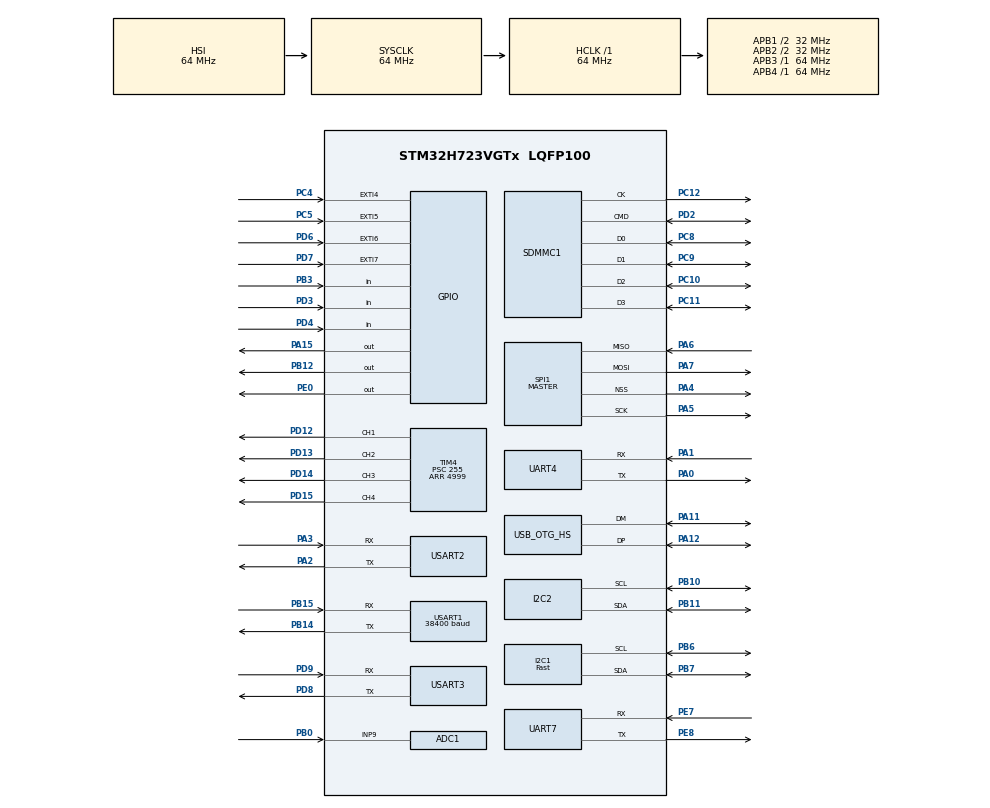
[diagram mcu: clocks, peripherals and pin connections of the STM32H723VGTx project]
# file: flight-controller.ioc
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ADC1.Channel-23\#ChannelRegularConversion=ADC_CHANNEL_9
ADC1.NbrOfConversionFlag=1
ADC1.OffsetNumber-23\#ChannelRegularConversion=ADC_OFFSET_NONE
ADC1.OffsetSignedSaturation-23\#ChannelRegularConversion=DISABLE
ADC1.Rank-23\#ChannelRegularConversion=1
ADC1.SamplingTime-23\#ChannelRegularConversion=ADC_SAMPLETIME_1CYCLE_5
ADC1.master=1
CORTEX_M7.default_mode_Activation=1
FATFS.BSP.number=1
FATFS._MAX_SS=4096
FATFS._USE_LFN=1
FATFS0.BSP.STBoard=false
FATFS0.BSP.api=Unknown
FATFS0.BSP.instance=PD3
FATFS0.BSP.ip=GPIO
FATFS0.BSP.mode=Input
FATFS0.BSP.name=Detect_SDIO
FATFS0.BSP.solution=PD3
I2C1.I2C_Speed_Mode=I2C_Fast
I2C1.Timing=0x00300F38
I2C2.Timing=0x00707CBB
Mcu.Family=STM32H7
Mcu.Name=STM32H723VGTx
Mcu.Package=LQFP100
NVIC.EXTI4_IRQn=true\:0\:0\:false\:false\:true\:true\:true\:true
NVIC.EXTI9_5_IRQn=true\:0\:0\:false\:false\:true\:true\:true\:true
NVIC.PriorityGroup=NVIC_PRIORITYGROUP_4
NVIC.UART4_IRQn=true\:0\:0\:false\:false\:true\:true\:true\:true
NVIC.USART1_IRQn=true\:0\:0\:false\:false\:true\:true\:true\:true
NVIC.USART2_IRQn=true\:0\:0\:false\:false\:true\:true\:true\:true
PA0.Mode=Asynchronous
PA0.Signal=UART4_TX
PA1.Mode=Asynchronous
PA1.Signal=UART4_RX
PA11.Mode=Device_Only_FS
PA11.Signal=USB_OTG_HS_DM
PA12.Mode=Device_Only_FS
PA12.Signal=USB_OTG_HS_DP
PA13(JTMS/SWDIO).Mode=Serial_Wire
PA13(JTMS/SWDIO).Signal=DEBUG_JTMS-SWDIO
PA14(JTCK/SWCLK).Mode=Serial_Wire
PA14(JTCK/SWCLK).Signal=DEBUG_JTCK-SWCLK
PA15(JTDI).Signal=GPIO_Output
PA2.Mode=Asynchronous
PA2.Signal=USART2_TX
PA3.Mode=Asynchronous
PA3.Signal=USART2_RX
PA4.Mode=NSS_Signal_Hard_Output
PA4.Signal=SPI1_NSS
PA5.Mode=Full_Duplex_Master
PA5.Signal=SPI1_SCK
PA6.Mode=Full_Duplex_Master
PA6.Signal=SPI1_MISO
PA7.Mode=Full_Duplex_Master
PA7.Signal=SPI1_MOSI
PB0.Signal=ADCx_INP9
PB10.Mode=I2C
PB10.Signal=I2C2_SCL
PB11.Mode=I2C
PB11.Signal=I2C2_SDA
PB12.Signal=GPIO_Output
PB13.Signal=EVENTOUT
PB14.Mode=Asynchronous
PB14.Signal=USART1_TX
PB15.Mode=Asynchronous
PB15.Signal=USART1_RX
PB3(JTDO/TRACESWO).Signal=GPIO_Input
PB6.Mode=I2C
PB6.Signal=I2C1_SCL
PB7.Mode=I2C
PB7.Signal=I2C1_SDA
PC10.Mode=SD_4_bits_Wide_bus
PC10.Signal=SDMMC1_D2
PC11.Mode=SD_4_bits_Wide_bus
PC11.Signal=SDMMC1_D3
PC12.Mode=SD_4_bits_Wide_bus
PC12.Signal=SDMMC1_CK
PC14-OSC32_IN.Mode=LSE-External-Oscillator
PC14-OSC32_IN.Signal=RCC_OSC32_IN
PC15-OSC32_OUT.Mode=LSE-External-Oscillator
PC15-OSC32_OUT.Signal=RCC_OSC32_OUT
PC4.Signal=GPXTI4
PC5.Signal=GPXTI5
PC8.Mode=SD_4_bits_Wide_bus
PC8.Signal=SDMMC1_D0
PC9.Mode=SD_4_bits_Wide_bus
PC9.Signal=SDMMC1_D1
PD12.Signal=S_TIM4_CH1
PD13.Signal=S_TIM4_CH2
PD14.Signal=S_TIM4_CH3
PD15.Signal=S_TIM4_CH4
PD2.Mode=SD_4_bits_Wide_bus
PD2.Signal=SDMMC1_CMD
PD3.Signal=GPIO_Input
PD4.Signal=GPIO_Input
PD6.Signal=GPXTI6
PD7.Signal=GPXTI7
PD8.Mode=Asynchronous
PD8.Signal=USART3_TX
PD9.Mode=Asynchronous
PD9.Signal=USART3_RX
PE0.Signal=GPIO_Output
PE7.Mode=Asynchronous
PE7.Signal=UART7_RX
PE8.Mode=Asynchronous
PE8.Signal=UART7_TX
PH0-OSC_IN.Mode=HSE-External-Oscillator
PH0-OSC_IN.Signal=RCC_OSC_IN
PH1-OSC_OUT.Mode=HSE-External-Oscillator
PH1-OSC_OUT.Signal=RCC_OSC_OUT
ProjectManager.HeapSize=0x200
ProjectManager.StackSize=0x400
ProjectManager.TargetToolchain=CMake
RCC.ADCFreq_Value=40000000
RCC.APB1Freq_Value=32000000
RCC.APB2Freq_Value=32000000
RCC.APB3Freq_Value=64000000
RCC.APB4Freq_Value=64000000
RCC.CortexFreq_Value=64000000
RCC.D2PPRE1=RCC_APB1_DIV2
RCC.D2PPRE2=RCC_APB2_DIV2
RCC.DIVM1=2
RCC.DIVM2=2
RCC.DIVN1=15
RCC.DIVN2=16
RCC.DIVP2=5
RCC.DIVQ1=4
RCC.HCLKFreq_Value=64000000
RCC.PLL2FRACN=0
RCC.PLL3FRACN=0
RCC.PLLFRACN=2950
RCC.SYSCLKFreq_VALUE=64000000
RCC.USBFreq_Value=48000335.693359375
SH.ADCx_INP9.0=ADC1_INP9,IN9-Single-Ended
SH.S_TIM4_CH1.0=TIM4_CH1,PWM Generation1 CH1
SH.S_TIM4_CH2.0=TIM4_CH2,PWM Generation2 CH2
SH.S_TIM4_CH3.0=TIM4_CH3,PWM Generation3 CH3
SH.S_TIM4_CH4.0=TIM4_CH4,PWM Generation4 CH4
SPI1.CalculateBaudRate=24.000168 MBits/s
SPI1.Direction=SPI_DIRECTION_2LINES
SPI1.Mode=SPI_MODE_MASTER
SPI1.VirtualNSS=VM_NSSHARD
SPI1.VirtualType=VM_MASTER
TIM4.Channel-PWM\ Generation1\ CH1=TIM_CHANNEL_1
TIM4.Channel-PWM\ Generation2\ CH2=TIM_CHANNEL_2
TIM4.Channel-PWM\ Generation3\ CH3=TIM_CHANNEL_3
TIM4.Channel-PWM\ Generation4\ CH4=TIM_CHANNEL_4
TIM4.Period=4999
TIM4.Prescaler=255
USART1.BaudRate=38400
USART1.VirtualMode-Asynchronous=VM_ASYNC
USART2.VirtualMode-Asynchronous=VM_ASYNC
USART3.VirtualMode-Asynchronous=VM_ASYNC
USB_OTG_HS.VirtualMode-Device_Only_FS=Device_Only_FS
VP_FATFS_VS_SDIO.Mode=SDIO
VP_MEMORYMAP_VS_MEMORYMAP.Mode=CurAppReg
VP_TIM4_VS_ClockSourceINT.Mode=Internal
VP_VREFBUF_V_VREFBUF.Mode=ExternalMode
board=custom

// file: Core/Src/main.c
/* USER CODE BEGIN Header */
/**
 ******************************************************************************
 * @file           : main.c
 * @brief          : Main program body
 ******************************************************************************
 * @attention
 *
 * Copyright (c) 2026 STMicroelectronics.
 * All rights reserved.
 *
 * This software is licensed under terms that can be found in the LICENSE file
 * in the root directory of this software component.
 * If no LICENSE file comes with this software, it is provided AS-IS.
 *
 ******************************************************************************
 */
/* USER CODE END Header */
#include "main.h"
#include "fatfs.h"

/* USER CODE BEGIN Includes */

#include "ff.h"
#include "pid.h"
#include "uart.h"
#include "sdmmc.h"
#include "sensor.h"
#include "stm32h723xx.h"
#include "stm32h7xx_hal.h"
#include "stm32h7xx_hal_def.h"
#include "stm32h7xx_hal_i2c.h"
#include "stm32h7xx_hal_spi.h"
#include "stm32h7xx_hal_tim.h"
#include "stm32h7xx_hal_uart.h"
#include <stdint.h>

/* USER CODE END Includes */

/* USER CODE BEGIN PD */

#define DT 10

/* USER CODE END PD */

ADC_HandleTypeDef hadc1;

I2C_HandleTypeDef hi2c1;
I2C_HandleTypeDef hi2c2;

SD_HandleTypeDef hsd1;

SPI_HandleTypeDef hspi1;

TIM_HandleTypeDef htim4;

UART_HandleTypeDef huart4;
UART_HandleTypeDef huart7;
UART_HandleTypeDef huart1;
UART_HandleTypeDef huart2;
UART_HandleTypeDef huart3;

PCD_HandleTypeDef hpcd_USB_OTG_HS;

/* USER CODE BEGIN PV */

FATFS fatfs;
char sd_path[4];

// IMU PV
stmdev_ctx_t imu_h;

// MAG PV
MMC5983_HW_InitTypeDef mag_h = {
	.I2C_handler = &hi2c1,
	.I2C_Timeout = HAL_TIMEOUT
};

// BMP PV
bmp384_handle_t bmp_h;

// GNSS PV
GNSS_StateHandle gnss_h;

// Sensor PV
vector_t gyro;
vector_t accel;
vector_t mag;
float imu_temp;
float mag_temp;
float pressure;
float temp;

// PID PV
pid_control_t pid_x = {
	1,
	0,
	0
};
pid_control_t pid_y = {
	1,
	0,
	0
};
pid_control_t pid_z = {
	0.1,
	0,
	0
};

// AHRS PV
ahrs_t ahrs;

// Input PV
float throttle;
float set_x;
float set_y;
float set_z;

// Transceiver PV
uint8_t control_buf[sizeof(controls)];
uint8_t control_data;
int control_count = 0;

/* USER CODE END PV */

void SystemClock_Config(void);
static void MPU_Config(void);
static void MX_GPIO_Init(void);
static void MX_I2C1_Init(void);
static void MX_SDMMC1_SD_Init(void);
static void MX_SPI1_Init(void);
static void MX_UART4_Init(void);
static void MX_USART2_UART_Init(void);
static void MX_USB_OTG_HS_PCD_Init(void);
static void MX_ADC1_Init(void);
static void MX_TIM4_Init(void);
static void MX_USART3_UART_Init(void);
static void MX_USART1_UART_Init(void);
static void MX_UART7_Init(void);
static void MX_I2C2_Init(void);
/* USER CODE BEGIN PFP */

// ESC functions
static void esc_set_all(uint32_t duty_cycle);
static void esc_calibrate();
static void esc_start_all();
static void esc_stop_all();

static float clamp(float value, float min, float max);

/* USER CODE END PFP */

int main(void)
{

	/* USER CODE BEGIN 1 */

	imu_h.write_reg = platform_write;
	imu_h.read_reg = platform_read;
	imu_h.mdelay = platform_delay;
	imu_h.handle = &hspi1;

	bmp_h.iic_init = bmp384_interface_iic_init;
	bmp_h.iic_deinit = bmp384_interface_iic_deinit;
	bmp_h.iic_read = bmp384_interface_iic_read;
	bmp_h.iic_write = bmp384_interface_iic_write;
	bmp_h.delay_ms = HAL_Delay;

	/* USER CODE END 1 */

	/* MPU Configuration--------------------------------------------------------*/
	MPU_Config();

	/* MCU Configuration--------------------------------------------------------*/

	/* Reset of all peripherals, Initializes the Flash interface and the Systick. */
	HAL_Init();

	/* Configure the system clock */
	SystemClock_Config();

	/* Initialize all configured peripherals */
	MX_GPIO_Init();
	MX_I2C1_Init();
	MX_SDMMC1_SD_Init();
	MX_SPI1_Init();
	MX_UART4_Init();
	MX_USART2_UART_Init();
	MX_USB_OTG_HS_PCD_Init();
	MX_ADC1_Init();
	MX_TIM4_Init();
	MX_USART3_UART_Init();
	MX_USART1_UART_Init();
	MX_UART7_Init();
	MX_I2C2_Init();
	MX_FATFS_Init();
	/* USER CODE BEGIN 2 */

	sd_init(&fatfs, sd_path);

	// IMU Init
	platform_delay(LSM6DSO_BOOT_TIME);

	uint8_t whoami, rst;
	if (lsm6dso_device_id_get(&imu_h, &whoami) != LSM6DSO_ID) {
		sd_log("ERROR", "LSM6DSO", "Device id invalid or missing");
		Error_Handler();
	}

	lsm6dso_reset_set(&imu_h, PROPERTY_ENABLE);

	do {
		lsm6dso_reset_get(&imu_h, &rst);
	} while (rst);

	imu_init(&imu_h);

	// MAG Init
	if (MMC5983_ID_Verify(&mag_h) != MMC_NO_ERROR) {
		sd_log("ERROR", "MMC5983", "Device id invalid or missing");
		Error_Handler();
	}

	mag_init(&mag_h);

	// BMP Init
	if (bmp_init(&bmp_h) != 0) {
		sd_log("ERROR", "BMP384", "Device id invalid or missing");
		Error_Handler();
	}

	// GNSS Init
	GNSS_Init(&gnss_h, &huart1);
	HAL_Delay(1000);
	GNSS_LoadConfig(&gnss_h);

	esc_start_all();

	/* USER CODE END 2 */

	/* Infinite loop */
	/* USER CODE BEGIN WHILE */
	uint32_t gnss_timer = HAL_GetTick();
	uint32_t telemetry_timer = HAL_GetTick();
	ahrs.start_timestamp = HAL_GetTick();
	while (1)
	{
		/* USER CODE END WHILE */

		/* USER CODE BEGIN 3 */
		uint32_t timestamp = HAL_GetTick();

		// Poll data every second since gnss module doesn't have an interrupt pin
		if ((HAL_GetTick() - gnss_timer) > 1000) {
			read_gnss(&gnss_h);
			gnss_timer = HAL_GetTick();
		}

		// Send telemetry every 100 milliconds
		if ((HAL_GetTick() - telemetry_timer) > 100) {
			transmit_telemetry();
			telemetry_timer = HAL_GetTick();
		}

		// Run loop only if new imu data is available
		lsm6dso_status_reg_t status;
		do {
			lsm6dso_status_reg_get(&imu_h, &status);
		} while (!status.gda || !status.xlda);

		read_imu(&imu_h, &gyro, &accel, &imu_temp, status);

		update_ahrs(&ahrs, gyro, accel, mag, DT);
		vector_t orientation_euler = quaternion_to_euler(ahrs.orientation);

		float pid_x_out = loop_pid(&pid_x, orientation_euler.x, set_x);
		float pid_y_out = loop_pid(&pid_y, orientation_euler.y, set_y);
		float pid_z_out = loop_pid(&pid_z, orientation_euler.z, set_z);

		// Write duty cycle to ESCs
		TIM4->CCR1 = clamp(throttle + pid_x_out + pid_y_out - pid_z_out, 0, 100);
		TIM4->CCR2 = clamp(throttle - pid_x_out + pid_y_out + pid_z_out, 0, 100);
		TIM4->CCR3 = clamp(throttle + pid_x_out - pid_y_out + pid_z_out, 0, 100);
		TIM4->CCR4 = clamp(throttle - pid_x_out - pid_y_out - pid_z_out, 0, 100);

		// Delay to keep DT constant
		uint32_t time_elapsed = HAL_GetTick() - timestamp;
		HAL_Delay(time_elapsed);
	}
	/* USER CODE END 3 */
}

void SystemClock_Config(void)
{
	RCC_OscInitTypeDef RCC_OscInitStruct = {0};
	RCC_ClkInitTypeDef RCC_ClkInitStruct = {0};

	/** Supply configuration update enable
	 */
	HAL_PWREx_ConfigSupply(PWR_LDO_SUPPLY);

	/** Configure the main internal regulator output voltage
	 */
	__HAL_PWR_VOLTAGESCALING_CONFIG(PWR_REGULATOR_VOLTAGE_SCALE3);

	while(!__HAL_PWR_GET_FLAG(PWR_FLAG_VOSRDY)) {}

	/** Initializes the RCC Oscillators according to the specified parameters
	 * in the RCC_OscInitTypeDef structure.
	 */
	RCC_OscInitStruct.OscillatorType = RCC_OSCILLATORTYPE_HSI|RCC_OSCILLATORTYPE_HSE;
	RCC_OscInitStruct.HSEState = RCC_HSE_ON;
	RCC_OscInitStruct.HSIState = RCC_HSI_DIV1;
	RCC_OscInitStruct.HSICalibrationValue = 64;
	RCC_OscInitStruct.PLL.PLLState = RCC_PLL_ON;
	RCC_OscInitStruct.PLL.PLLSource = RCC_PLLSOURCE_HSE;
	RCC_OscInitStruct.PLL.PLLM = 2;
	RCC_OscInitStruct.PLL.PLLN = 15;
	RCC_OscInitStruct.PLL.PLLP = 2;
	RCC_OscInitStruct.PLL.PLLQ = 4;
	RCC_OscInitStruct.PLL.PLLR = 2;
	RCC_OscInitStruct.PLL.PLLRGE = RCC_PLL1VCIRANGE_3;
	RCC_OscInitStruct.PLL.PLLVCOSEL = RCC_PLL1VCOWIDE;
	RCC_OscInitStruct.PLL.PLLFRACN = 2950;
	if (HAL_RCC_OscConfig(&RCC_OscInitStruct) != HAL_OK)
	{
		Error_Handler();
	}

	/** Initializes the CPU, AHB and APB buses clocks
	 */
	RCC_ClkInitStruct.ClockType = RCC_CLOCKTYPE_HCLK|RCC_CLOCKTYPE_SYSCLK
	                              |RCC_CLOCKTYPE_PCLK1|RCC_CLOCKTYPE_PCLK2
	                              |RCC_CLOCKTYPE_D3PCLK1|RCC_CLOCKTYPE_D1PCLK1;
	RCC_ClkInitStruct.SYSCLKSource = RCC_SYSCLKSOURCE_HSI;
	RCC_ClkInitStruct.SYSCLKDivider = RCC_SYSCLK_DIV1;
	RCC_ClkInitStruct.AHBCLKDivider = RCC_HCLK_DIV1;
	RCC_ClkInitStruct.APB3CLKDivider = RCC_APB3_DIV1;
	RCC_ClkInitStruct.APB1CLKDivider = RCC_APB1_DIV2;
	RCC_ClkInitStruct.APB2CLKDivider = RCC_APB2_DIV2;
	RCC_ClkInitStruct.APB4CLKDivider = RCC_APB4_DIV1;

	if (HAL_RCC_ClockConfig(&RCC_ClkInitStruct, FLASH_LATENCY_1) != HAL_OK)
	{
		Error_Handler();
	}
}

static void MX_ADC1_Init(void)
{

	ADC_MultiModeTypeDef multimode = {0};
	ADC_ChannelConfTypeDef sConfig = {0};

	/** Common config
	 */
	hadc1.Instance = ADC1;
	hadc1.Init.ClockPrescaler = ADC_CLOCK_ASYNC_DIV1;
	hadc1.Init.Resolution = ADC_RESOLUTION_16B;
	hadc1.Init.ScanConvMode = ADC_SCAN_DISABLE;
	hadc1.Init.EOCSelection = ADC_EOC_SINGLE_CONV;
	hadc1.Init.LowPowerAutoWait = DISABLE;
	hadc1.Init.ContinuousConvMode = DISABLE;
	hadc1.Init.NbrOfConversion = 1;
	hadc1.Init.DiscontinuousConvMode = DISABLE;
	hadc1.Init.ExternalTrigConv = ADC_SOFTWARE_START;
	hadc1.Init.ExternalTrigConvEdge = ADC_EXTERNALTRIGCONVEDGE_NONE;
	hadc1.Init.ConversionDataManagement = ADC_CONVERSIONDATA_DR;
	hadc1.Init.Overrun = ADC_OVR_DATA_PRESERVED;
	hadc1.Init.LeftBitShift = ADC_LEFTBITSHIFT_NONE;
	hadc1.Init.OversamplingMode = DISABLE;
	hadc1.Init.Oversampling.Ratio = 1;
	if (HAL_ADC_Init(&hadc1) != HAL_OK)
	{
		Error_Handler();
	}

	/** Configure the ADC multi-mode
	 */
	multimode.Mode = ADC_MODE_INDEPENDENT;
	if (HAL_ADCEx_MultiModeConfigChannel(&hadc1, &multimode) != HAL_OK)
	{
		Error_Handler();
	}

	/** Configure Regular Channel
	 */
	sConfig.Channel = ADC_CHANNEL_9;
	sConfig.Rank = ADC_REGULAR_RANK_1;
	sConfig.SamplingTime = ADC_SAMPLETIME_1CYCLE_5;
	sConfig.SingleDiff = ADC_SINGLE_ENDED;
	sConfig.OffsetNumber = ADC_OFFSET_NONE;
	sConfig.Offset = 0;
	sConfig.OffsetSignedSaturation = DISABLE;
	if (HAL_ADC_ConfigChannel(&hadc1, &sConfig) != HAL_OK)
	{
		Error_Handler();
	}

}

static void MX_I2C1_Init(void)
{

	hi2c1.Instance = I2C1;
	hi2c1.Init.Timing = 0x00300F38;
	hi2c1.Init.OwnAddress1 = 0;
	hi2c1.Init.AddressingMode = I2C_ADDRESSINGMODE_7BIT;
	hi2c1.Init.DualAddressMode = I2C_DUALADDRESS_DISABLE;
	hi2c1.Init.OwnAddress2 = 0;
	hi2c1.Init.OwnAddress2Masks = I2C_OA2_NOMASK;
	hi2c1.Init.GeneralCallMode = I2C_GENERALCALL_DISABLE;
	hi2c1.Init.NoStretchMode = I2C_NOSTRETCH_DISABLE;
	if (HAL_I2C_Init(&hi2c1) != HAL_OK)
	{
		Error_Handler();
	}

	/** Configure Analogue filter
	 */
	if (HAL_I2CEx_ConfigAnalogFilter(&hi2c1, I2C_ANALOGFILTER_ENABLE) != HAL_OK)
	{
		Error_Handler();
	}

	/** Configure Digital filter
	 */
	if (HAL_I2CEx_ConfigDigitalFilter(&hi2c1, 0) != HAL_OK)
	{
		Error_Handler();
	}

}

static void MX_I2C2_Init(void)
{

	hi2c2.Instance = I2C2;
	hi2c2.Init.Timing = 0x00707CBB;
	hi2c2.Init.OwnAddress1 = 0;
	hi2c2.Init.AddressingMode = I2C_ADDRESSINGMODE_7BIT;
	hi2c2.Init.DualAddressMode = I2C_DUALADDRESS_DISABLE;
	hi2c2.Init.OwnAddress2 = 0;
	hi2c2.Init.OwnAddress2Masks = I2C_OA2_NOMASK;
	hi2c2.Init.GeneralCallMode = I2C_GENERALCALL_DISABLE;
	hi2c2.Init.NoStretchMode = I2C_NOSTRETCH_DISABLE;
	if (HAL_I2C_Init(&hi2c2) != HAL_OK)
	{
		Error_Handler();
	}

	/** Configure Analogue filter
	 */
	if (HAL_I2CEx_ConfigAnalogFilter(&hi2c2, I2C_ANALOGFILTER_ENABLE) != HAL_OK)
	{
		Error_Handler();
	}

	/** Configure Digital filter
	 */
	if (HAL_I2CEx_ConfigDigitalFilter(&hi2c2, 0) != HAL_OK)
	{
		Error_Handler();
	}

}

static void MX_SDMMC1_SD_Init(void)
{

	hsd1.Instance = SDMMC1;
	hsd1.Init.ClockEdge = SDMMC_CLOCK_EDGE_RISING;
	hsd1.Init.ClockPowerSave = SDMMC_CLOCK_POWER_SAVE_DISABLE;
	hsd1.Init.BusWide = SDMMC_BUS_WIDE_4B;
	hsd1.Init.HardwareFlowControl = SDMMC_HARDWARE_FLOW_CONTROL_DISABLE;
	hsd1.Init.ClockDiv = 0;
	if (HAL_SD_Init(&hsd1) != HAL_OK)
	{
		Error_Handler();
	}

}

static void MX_SPI1_Init(void)
{

	/* SPI1 parameter configuration*/
	hspi1.Instance = SPI1;
	hspi1.Init.Mode = SPI_MODE_MASTER;
	hspi1.Init.Direction = SPI_DIRECTION_2LINES;
	hspi1.Init.DataSize = SPI_DATASIZE_4BIT;
	hspi1.Init.CLKPolarity = SPI_POLARITY_LOW;
	hspi1.Init.CLKPhase = SPI_PHASE_1EDGE;
	hspi1.Init.NSS = SPI_NSS_HARD_OUTPUT;
	hspi1.Init.BaudRatePrescaler = SPI_BAUDRATEPRESCALER_2;
	hspi1.Init.FirstBit = SPI_FIRSTBIT_MSB;
	hspi1.Init.TIMode = SPI_TIMODE_DISABLE;
	hspi1.Init.CRCCalculation = SPI_CRCCALCULATION_DISABLE;
	hspi1.Init.CRCPolynomial = 0x0;
	hspi1.Init.NSSPMode = SPI_NSS_PULSE_ENABLE;
	hspi1.Init.NSSPolarity = SPI_NSS_POLARITY_LOW;
	hspi1.Init.FifoThreshold = SPI_FIFO_THRESHOLD_01DATA;
	hspi1.Init.TxCRCInitializationPattern = SPI_CRC_INITIALIZATION_ALL_ZERO_PATTERN;
	hspi1.Init.RxCRCInitializationPattern = SPI_CRC_INITIALIZATION_ALL_ZERO_PATTERN;
	hspi1.Init.MasterSSIdleness = SPI_MASTER_SS_IDLENESS_00CYCLE;
	hspi1.Init.MasterInterDataIdleness = SPI_MASTER_INTERDATA_IDLENESS_00CYCLE;
	hspi1.Init.MasterReceiverAutoSusp = SPI_MASTER_RX_AUTOSUSP_DISABLE;
	hspi1.Init.MasterKeepIOState = SPI_MASTER_KEEP_IO_STATE_DISABLE;
	hspi1.Init.IOSwap = SPI_IO_SWAP_DISABLE;
	if (HAL_SPI_Init(&hspi1) != HAL_OK)
	{
		Error_Handler();
	}

}

static void MX_TIM4_Init(void)
{

	TIM_ClockConfigTypeDef sClockSourceConfig = {0};
	TIM_MasterConfigTypeDef sMasterConfig = {0};
	TIM_OC_InitTypeDef sConfigOC = {0};

	htim4.Instance = TIM4;
	htim4.Init.Prescaler = 255;
	htim4.Init.CounterMode = TIM_COUNTERMODE_UP;
	htim4.Init.Period = 4999;
	htim4.Init.ClockDivision = TIM_CLOCKDIVISION_DIV1;
	htim4.Init.AutoReloadPreload = TIM_AUTORELOAD_PRELOAD_DISABLE;
	if (HAL_TIM_Base_Init(&htim4) != HAL_OK)
	{
		Error_Handler();
	}
	sClockSourceConfig.ClockSource = TIM_CLOCKSOURCE_INTERNAL;
	if (HAL_TIM_ConfigClockSource(&htim4, &sClockSourceConfig) != HAL_OK)
	{
		Error_Handler();
	}
	if (HAL_TIM_PWM_Init(&htim4) != HAL_OK)
	{
		Error_Handler();
	}
	sMasterConfig.MasterOutputTrigger = TIM_TRGO_RESET;
	sMasterConfig.MasterSlaveMode = TIM_MASTERSLAVEMODE_DISABLE;
	if (HAL_TIMEx_MasterConfigSynchronization(&htim4, &sMasterConfig) != HAL_OK)
	{
		Error_Handler();
	}
	sConfigOC.OCMode = TIM_OCMODE_PWM1;
	sConfigOC.Pulse = 0;
	sConfigOC.OCPolarity = TIM_OCPOLARITY_HIGH;
	sConfigOC.OCFastMode = TIM_OCFAST_DISABLE;
	if (HAL_TIM_PWM_ConfigChannel(&htim4, &sConfigOC, TIM_CHANNEL_1) != HAL_OK)
	{
		Error_Handler();
	}
	if (HAL_TIM_PWM_ConfigChannel(&htim4, &sConfigOC, TIM_CHANNEL_2) != HAL_OK)
	{
		Error_Handler();
	}
	if (HAL_TIM_PWM_ConfigChannel(&htim4, &sConfigOC, TIM_CHANNEL_3) != HAL_OK)
	{
		Error_Handler();
	}
	if (HAL_TIM_PWM_ConfigChannel(&htim4, &sConfigOC, TIM_CHANNEL_4) != HAL_OK)
	{
		Error_Handler();
	}
	HAL_TIM_MspPostInit(&htim4);

}

static void MX_UART4_Init(void)
{

	huart4.Instance = UART4;
	huart4.Init.BaudRate = 115200;
	huart4.Init.WordLength = UART_WORDLENGTH_8B;
	huart4.Init.StopBits = UART_STOPBITS_1;
	huart4.Init.Parity = UART_PARITY_NONE;
	huart4.Init.Mode = UART_MODE_TX_RX;
	huart4.Init.HwFlowCtl = UART_HWCONTROL_NONE;
	huart4.Init.OverSampling = UART_OVERSAMPLING_16;
	huart4.Init.OneBitSampling = UART_ONE_BIT_SAMPLE_DISABLE;
	huart4.Init.ClockPrescaler = UART_PRESCALER_DIV1;
	huart4.AdvancedInit.AdvFeatureInit = UART_ADVFEATURE_NO_INIT;
	if (HAL_UART_Init(&huart4) != HAL_OK)
	{
		Error_Handler();
	}
	if (HAL_UARTEx_SetTxFifoThreshold(&huart4, UART_TXFIFO_THRESHOLD_1_8) != HAL_OK)
	{
		Error_Handler();
	}
	if (HAL_UARTEx_SetRxFifoThreshold(&huart4, UART_RXFIFO_THRESHOLD_1_8) != HAL_OK)
	{
		Error_Handler();
	}
	if (HAL_UARTEx_DisableFifoMode(&huart4) != HAL_OK)
	{
		Error_Handler();
	}

}

static void MX_UART7_Init(void)
{

	huart7.Instance = UART7;
	huart7.Init.BaudRate = 115200;
	huart7.Init.WordLength = UART_WORDLENGTH_8B;
	huart7.Init.StopBits = UART_STOPBITS_1;
	huart7.Init.Parity = UART_PARITY_NONE;
	huart7.Init.Mode = UART_MODE_TX_RX;
	huart7.Init.HwFlowCtl = UART_HWCONTROL_NONE;
	huart7.Init.OverSampling = UART_OVERSAMPLING_16;
	huart7.Init.OneBitSampling = UART_ONE_BIT_SAMPLE_DISABLE;
	huart7.Init.ClockPrescaler = UART_PRESCALER_DIV1;
	huart7.AdvancedInit.AdvFeatureInit = UART_ADVFEATURE_NO_INIT;
	if (HAL_UART_Init(&huart7) != HAL_OK)
	{
		Error_Handler();
	}
	if (HAL_UARTEx_SetTxFifoThreshold(&huart7, UART_TXFIFO_THRESHOLD_1_8) != HAL_OK)
	{
		Error_Handler();
	}
	if (HAL_UARTEx_SetRxFifoThreshold(&huart7, UART_RXFIFO_THRESHOLD_1_8) != HAL_OK)
	{
		Error_Handler();
	}
	if (HAL_UARTEx_DisableFifoMode(&huart7) != HAL_OK)
	{
		Error_Handler();
	}

}

static void MX_USART1_UART_Init(void)
{

	huart1.Instance = USART1;
	huart1.Init.BaudRate = 38400;
	huart1.Init.WordLength = UART_WORDLENGTH_8B;
	huart1.Init.StopBits = UART_STOPBITS_1;
	huart1.Init.Parity = UART_PARITY_NONE;
	huart1.Init.Mode = UART_MODE_TX_RX;
	huart1.Init.HwFlowCtl = UART_HWCONTROL_NONE;
	huart1.Init.OverSampling = UART_OVERSAMPLING_16;
	huart1.Init.OneBitSampling = UART_ONE_BIT_SAMPLE_DISABLE;
	huart1.Init.ClockPrescaler = UART_PRESCALER_DIV1;
	huart1.AdvancedInit.AdvFeatureInit = UART_ADVFEATURE_NO_INIT;
	if (HAL_UART_Init(&huart1) != HAL_OK)
	{
		Error_Handler();
	}
	if (HAL_UARTEx_SetTxFifoThreshold(&huart1, UART_TXFIFO_THRESHOLD_1_8) != HAL_OK)
	{
		Error_Handler();
	}
	if (HAL_UARTEx_SetRxFifoThreshold(&huart1, UART_RXFIFO_THRESHOLD_1_8) != HAL_OK)
	{
		Error_Handler();
	}
	if (HAL_UARTEx_DisableFifoMode(&huart1) != HAL_OK)
	{
		Error_Handler();
	}

}

static void MX_USART2_UART_Init(void)
{

	huart2.Instance = USART2;
	huart2.Init.BaudRate = 115200;
	huart2.Init.WordLength = UART_WORDLENGTH_8B;
	huart2.Init.StopBits = UART_STOPBITS_1;
	huart2.Init.Parity = UART_PARITY_NONE;
	huart2.Init.Mode = UART_MODE_TX_RX;
	huart2.Init.HwFlowCtl = UART_HWCONTROL_NONE;
	huart2.Init.OverSampling = UART_OVERSAMPLING_16;
	huart2.Init.OneBitSampling = UART_ONE_BIT_SAMPLE_DISABLE;
	huart2.Init.ClockPrescaler = UART_PRESCALER_DIV1;
	huart2.AdvancedInit.AdvFeatureInit = UART_ADVFEATURE_NO_INIT;
	if (HAL_UART_Init(&huart2) != HAL_OK)
	{
		Error_Handler();
	}
	if (HAL_UARTEx_SetTxFifoThreshold(&huart2, UART_TXFIFO_THRESHOLD_1_8) != HAL_OK)
	{
		Error_Handler();
	}
	if (HAL_UARTEx_SetRxFifoThreshold(&huart2, UART_RXFIFO_THRESHOLD_1_8) != HAL_OK)
	{
		Error_Handler();
	}
	if (HAL_UARTEx_DisableFifoMode(&huart2) != HAL_OK)
	{
		Error_Handler();
	}

}

static void MX_USART3_UART_Init(void)
{

	huart3.Instance = USART3;
	huart3.Init.BaudRate = 115200;
	huart3.Init.WordLength = UART_WORDLENGTH_8B;
	huart3.Init.StopBits = UART_STOPBITS_1;
	huart3.Init.Parity = UART_PARITY_NONE;
	huart3.Init.Mode = UART_MODE_TX_RX;
	huart3.Init.HwFlowCtl = UART_HWCONTROL_NONE;
	huart3.Init.OverSampling = UART_OVERSAMPLING_16;
	huart3.Init.OneBitSampling = UART_ONE_BIT_SAMPLE_DISABLE;
	huart3.Init.ClockPrescaler = UART_PRESCALER_DIV1;
	huart3.AdvancedInit.AdvFeatureInit = UART_ADVFEATURE_NO_INIT;
	if (HAL_UART_Init(&huart3) != HAL_OK)
	{
		Error_Handler();
	}
	if (HAL_UARTEx_SetTxFifoThreshold(&huart3, UART_TXFIFO_THRESHOLD_1_8) != HAL_OK)
	{
		Error_Handler();
	}
	if (HAL_UARTEx_SetRxFifoThreshold(&huart3, UART_RXFIFO_THRESHOLD_1_8) != HAL_OK)
	{
		Error_Handler();
	}
	if (HAL_UARTEx_DisableFifoMode(&huart3) != HAL_OK)
	{
		Error_Handler();
	}

}

static void MX_USB_OTG_HS_PCD_Init(void)
{

	hpcd_USB_OTG_HS.Instance = USB_OTG_HS;
	hpcd_USB_OTG_HS.Init.dev_endpoints = 9;
	hpcd_USB_OTG_HS.Init.speed = PCD_SPEED_FULL;
	hpcd_USB_OTG_HS.Init.dma_enable = DISABLE;
	hpcd_USB_OTG_HS.Init.phy_itface = USB_OTG_EMBEDDED_PHY;
	hpcd_USB_OTG_HS.Init.Sof_enable = DISABLE;
	hpcd_USB_OTG_HS.Init.low_power_enable = DISABLE;
	hpcd_USB_OTG_HS.Init.lpm_enable = DISABLE;
	hpcd_USB_OTG_HS.Init.vbus_sensing_enable = DISABLE;
	hpcd_USB_OTG_HS.Init.use_dedicated_ep1 = DISABLE;
	hpcd_USB_OTG_HS.Init.use_external_vbus = DISABLE;
	if (HAL_PCD_Init(&hpcd_USB_OTG_HS) != HAL_OK)
	{
		Error_Handler();
	}

}

static void MX_GPIO_Init(void)
{
	GPIO_InitTypeDef GPIO_InitStruct = {0};

	/* GPIO Ports Clock Enable */
	__HAL_RCC_GPIOC_CLK_ENABLE();
	__HAL_RCC_GPIOH_CLK_ENABLE();
	__HAL_RCC_GPIOA_CLK_ENABLE();
	__HAL_RCC_GPIOB_CLK_ENABLE();
	__HAL_RCC_GPIOE_CLK_ENABLE();
	__HAL_RCC_GPIOD_CLK_ENABLE();

	/*Configure GPIO pin Output Level */
	HAL_GPIO_WritePin(GPIOB, GPIO_PIN_12, GPIO_PIN_RESET);

	/*Configure GPIO pin Output Level */
	HAL_GPIO_WritePin(GPIOA, GPIO_PIN_15, GPIO_PIN_RESET);

	/*Configure GPIO pin Output Level */
	HAL_GPIO_WritePin(GPIOE, GPIO_PIN_0, GPIO_PIN_RESET);

	/*Configure GPIO pins : PC4 PC5 */
	GPIO_InitStruct.Pin = GPIO_PIN_4|GPIO_PIN_5;
	GPIO_InitStruct.Mode = GPIO_MODE_IT_RISING;
	GPIO_InitStruct.Pull = GPIO_NOPULL;
	HAL_GPIO_Init(GPIOC, &GPIO_InitStruct);

	/*Configure GPIO pin : PB12 */
	GPIO_InitStruct.Pin = GPIO_PIN_12;
	GPIO_InitStruct.Mode = GPIO_MODE_OUTPUT_PP;
	GPIO_InitStruct.Pull = GPIO_NOPULL;
	GPIO_InitStruct.Speed = GPIO_SPEED_FREQ_LOW;
	HAL_GPIO_Init(GPIOB, &GPIO_InitStruct);

	/*Configure GPIO pin : PB13 */
	GPIO_InitStruct.Pin = GPIO_PIN_13;
	GPIO_InitStruct.Mode = GPIO_MODE_AF_PP;
	GPIO_InitStruct.Pull = GPIO_NOPULL;
	GPIO_InitStruct.Speed = GPIO_SPEED_FREQ_LOW;
	GPIO_InitStruct.Alternate = GPIO_AF15_EVENTOUT;
	HAL_GPIO_Init(GPIOB, &GPIO_InitStruct);

	/*Configure GPIO pin : PA15 */
	GPIO_InitStruct.Pin = GPIO_PIN_15;
	GPIO_InitStruct.Mode = GPIO_MODE_OUTPUT_PP;
	GPIO_InitStruct.Pull = GPIO_NOPULL;
	GPIO_InitStruct.Speed = GPIO_SPEED_FREQ_LOW;
	HAL_GPIO_Init(GPIOA, &GPIO_InitStruct);

	/*Configure GPIO pins : PD3 PD4 */
	GPIO_InitStruct.Pin = GPIO_PIN_3|GPIO_PIN_4;
	GPIO_InitStruct.Mode = GPIO_MODE_INPUT;
	GPIO_InitStruct.Pull = GPIO_NOPULL;
	HAL_GPIO_Init(GPIOD, &GPIO_InitStruct);

	/*Configure GPIO pins : PD6 PD7 */
	GPIO_InitStruct.Pin = GPIO_PIN_6|GPIO_PIN_7;
	GPIO_InitStruct.Mode = GPIO_MODE_IT_RISING;
	GPIO_InitStruct.Pull = GPIO_NOPULL;
	HAL_GPIO_Init(GPIOD, &GPIO_InitStruct);

	/*Configure GPIO pin : PB3 */
	GPIO_InitStruct.Pin = GPIO_PIN_3;
	GPIO_InitStruct.Mode = GPIO_MODE_INPUT;
	GPIO_InitStruct.Pull = GPIO_NOPULL;
	HAL_GPIO_Init(GPIOB, &GPIO_InitStruct);

	/*Configure GPIO pin : PE0 */
	GPIO_InitStruct.Pin = GPIO_PIN_0;
	GPIO_InitStruct.Mode = GPIO_MODE_OUTPUT_PP;
	GPIO_InitStruct.Pull = GPIO_NOPULL;
	GPIO_InitStruct.Speed = GPIO_SPEED_FREQ_LOW;
	HAL_GPIO_Init(GPIOE, &GPIO_InitStruct);

	/* EXTI interrupt init*/
	HAL_NVIC_SetPriority(EXTI4_IRQn, 0, 0);
	HAL_NVIC_EnableIRQ(EXTI4_IRQn);

	HAL_NVIC_SetPriority(EXTI9_5_IRQn, 0, 0);
	HAL_NVIC_EnableIRQ(EXTI9_5_IRQn);

}

/* USER CODE BEGIN 4 */

void HAL_UART_RxCpltCallback(UART_HandleTypeDef *huart) {
	if (huart == &transceiver_h) {
		if (control_data == '\n') {
			controls = *(controls_t *)&control_buf;
			control_count = 0;
		} else {
			control_buf[control_count++] = control_data;
		}
		HAL_UART_Receive_IT(&transceiver_h, &control_data, 1);
	}
}

void HAL_GPIO_EXTI_Callback(uint16_t GPIO_Pin) {
	if(GPIO_Pin == MMC5983_INT_PIN){
		read_mag(&mag_h, &mag);
	}

	if (GPIO_Pin == BMP384_INT_PIN) {
		read_bmp(&bmp_h, &pressure, &temp);
	}
}

static void esc_start_all() {
	HAL_TIM_PWM_Start(&htim4, 1);
	HAL_TIM_PWM_Start(&htim4, 2);
	HAL_TIM_PWM_Start(&htim4, 3);
	HAL_TIM_PWM_Start(&htim4, 4);
}

static void esc_stop_all() {
	HAL_TIM_PWM_Stop(&htim4, 1);
	HAL_TIM_PWM_Stop(&htim4, 2);
	HAL_TIM_PWM_Stop(&htim4, 3);
	HAL_TIM_PWM_Stop(&htim4, 4);
}

static void esc_set_all(uint32_t duty_cycle) {
	TIM4->CCR1 = duty_cycle;
	TIM4->CCR2 = duty_cycle;
	TIM4->CCR3 = duty_cycle;
	TIM4->CCR4 = duty_cycle;
}

static void esc_calibrate() {
	esc_set_all(100);
	HAL_Delay(2);

	esc_set_all(50);
	HAL_Delay(1);

	esc_set_all(0);
}

static float clamp(float value, float min, float max) {
	if (value < min) {
		return min;
	}

	if (value > max) {
		return max;
	}

	return value;
}

I2C_HandleTypeDef get_hi2c_bmp() {
	return hi2c1;
}

float get_timestamp() {
	return HAL_GetTick();
}

/* USER CODE END 4 */

/* MPU Configuration */

void MPU_Config(void)
{
	MPU_Region_InitTypeDef MPU_InitStruct = {0};

	/* Disables the MPU */
	HAL_MPU_Disable();

	/** Initializes and configures the Region and the memory to be protected
	 */
	MPU_InitStruct.Enable = MPU_REGION_ENABLE;
	MPU_InitStruct.Number = MPU_REGION_NUMBER0;
	MPU_InitStruct.BaseAddress = 0x0;
	MPU_InitStruct.Size = MPU_REGION_SIZE_4GB;
	MPU_InitStruct.SubRegionDisable = 0x87;
	MPU_InitStruct.TypeExtField = MPU_TEX_LEVEL0;
	MPU_InitStruct.AccessPermission = MPU_REGION_NO_ACCESS;
	MPU_InitStruct.DisableExec = MPU_INSTRUCTION_ACCESS_DISABLE;
	MPU_InitStruct.IsShareable = MPU_ACCESS_SHAREABLE;
	MPU_InitStruct.IsCacheable = MPU_ACCESS_NOT_CACHEABLE;
	MPU_InitStruct.IsBufferable = MPU_ACCESS_NOT_BUFFERABLE;

	HAL_MPU_ConfigRegion(&MPU_InitStruct);
	/* Enables the MPU */
	HAL_MPU_Enable(MPU_PRIVILEGED_DEFAULT);

}

void Error_Handler(void)
{
	/* USER CODE BEGIN Error_Handler_Debug */
	/* User can add his own implementation to report the HAL error return state */
	__disable_irq();
	sd_log("FATAL", "Main", "Fatal error encountered rebooting");
	NVIC_SystemReset();
	/*
	   while (1)
	   {

	   }
	 */
	/* USER CODE END Error_Handler_Debug */
}
